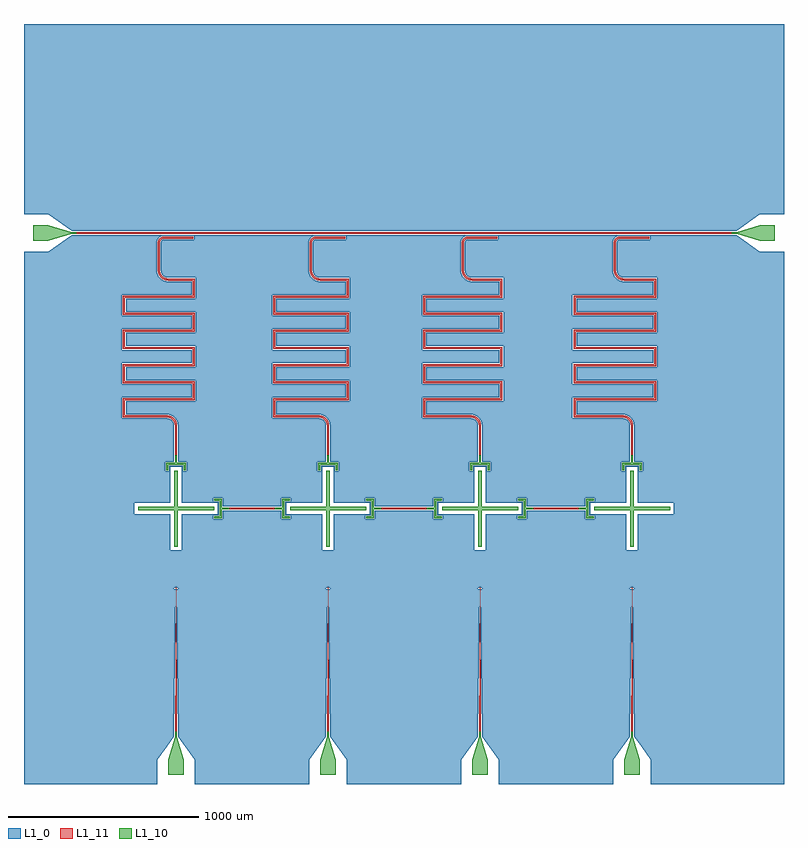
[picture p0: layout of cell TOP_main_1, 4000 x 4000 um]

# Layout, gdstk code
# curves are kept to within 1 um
import gdstk
lib = gdstk.Library(unit=1e-6, precision=1e-09)
def R(c, l, rs):  # rectangles x0, y0, x1, y1
    for r in rs: c.add(gdstk.rectangle(r[:2], r[2:], *l))
def A(c, l, x, y, w, h, nx, ny, dx, dy):  # array of equal rectangles
    R(c, l, [(x+i*dx, y+j*dy, x+i*dx+w, y+j*dy+h) for i in range(nx) for j in range(ny)])
def P(c, l, *ps):  # polygons
    for p in ps: c.add(gdstk.Polygon(p, *l))
L1_0 = (1, 0)
L1_10 = (1, 10)
L1_11 = (1, 11)

ground_main_1 = lib.new_cell('ground_main_1')
A(ground_main_1, L1_0, -1463.035, -54, 213.035, 68, 1, 4, 0, 180)
A(ground_main_1, L1_0, -672.41, -54, 172.41, 68, 1, 4, 0, 180)
A(ground_main_1, L1_0, 118.215, -54, 131.785, 68, 1, 4, 0, 180)
A(ground_main_1, L1_0, 908.84, -54, 91.16, 68, 1, 4, 0, 180)
A(ground_main_1, L1_0, -1250, 36, 133.035, 68, 1, 3, 0, 180)
A(ground_main_1, L1_0, -500, 36, 192.41, 68, 1, 3, 0, 180)
A(ground_main_1, L1_0, 250, 36, 250, 68, 1, 6, 0, 90)
A(ground_main_1, L1_0, 500, 36, 1.785, 68, 1, 4, 0, 180)
A(ground_main_1, L1_0, 1000, 36, 250, 68, 1, 6, 0, 90)
A(ground_main_1, L1_0, 1250, 36, 61.16, 68, 1, 4, 0, 180)
A(ground_main_1, L1_0, -1750, 911, 250, 1089, 14, 1, 250, 0)
R(ground_main_1, L1_0, [(-1750,-2000,-1500,889), (1500,-2000,1750,889)])
P(ground_main_1, L1_0, [(-1750,2000),(-2000,2000),(-2000,998),(-1872,998),(-1750,911)],
  [(-1750,889),(-1872,802),(-2000,802),(-2000,-2000),(-1750,-2000)],
  [(-1278.959,702.245),(-1276.434,690.273),(-1270.235,679.724),(-1261.004,671.692),(-1250,667.087),(-1250,864),(-1270.115,863.032),(-1275.946,858.729),(-1278.844,852.087)],
  [(-1300.959,851.713),(-1299.542,860.142),(-1296.177,868),(-1285.882,879.325),(-1271.813,885.349),(-1250,886),(-1250,889),(-1500,889),(-1500,-2000),(-1298,-2000),(-1298,-1872),(-1250,-1804.69),(-1250,-580),(-1420,-580),(-1420,-520),(-1250,-520),(-1250,-355),(-1257,-355),(-1257,-303),(-1250,-303),(-1250,-76),(-1485.035,-76),(-1485.035,36),(-1250,36),(-1250,104),(-1485.035,104),(-1485.035,216),(-1250,216),(-1250,284),(-1485.035,284),(-1485.035,396),(-1250,396),(-1250,464),(-1485.035,464),(-1485.035,576),(-1250,576),(-1250,644.683),(-1268.435,650.639),(-1282.644,660.806),(-1294.361,676.565),(-1300.002,693.102)],
  [(-1143,-303),(-1143,-355),(-1165,-355),(-1165,-325),(-1235,-325),(-1235,-355),(-1250,-355),(-1250,-520),(-1230,-520),(-1230,-330),(-1170,-330),(-1170,-520),(-1000,-520),(-1000,-515),(-1005,-515),(-1005,-493),(-1000,-493),(-1000,889),(-1250,889),(-1250,886),(-1104,886),(-1104,864),(-1250,864),(-1250,667.087),(-1241,666),(-1094.965,666),(-1094.965,554),(-1250,554),(-1250,486),(-1094.965,486),(-1094.965,374),(-1250,374),(-1250,306),(-1094.965,306),(-1094.965,194),(-1250,194),(-1250,126),(-1094.965,126),(-1094.965,14),(-1250,14),(-1250,-54),(-1229.627,-57.214),(-1210.62,-67.881),(-1197.784,-82.744),(-1189.998,-103.102),(-1189,-303)],
  [(-1211.041,-112.245),(-1214.238,-98.651),(-1223.4,-85.918),(-1235.273,-78.566),(-1250,-76),(-1250,-303),(-1211,-303)],
  [(-1102,-1872),(-1102,-2000),(-1000,-2000),(-1000,-607),(-1005,-607),(-1005,-585),(-1000,-585),(-1000,-580),(-1170,-580),(-1170,-770),(-1230,-770),(-1230,-580),(-1250,-580),(-1250,-1804.69),(-1211,-1750),(-1200.159,-976),(-1211,-976),(-1211,-970),(-1200,-965),(-1189,-970),(-1189,-976),(-1199.841,-976),(-1189,-1750)],
  [(-1116.965,644),(-1241,644),(-1243.191,644.04),(-1245.38,644.16),(-1247.562,644.36),(-1249.736,644.639),(-1250,644.683),(-1250,576),(-1116.965,576)],
  [(-750,889),(-1000,889),(-1000,-493),(-953,-493),(-953,-539),(-750,-539)],
  [(-975,-585),(-975,-515),(-1000,-515),(-1000,-520),(-980,-520),(-980,-580),(-1000,-580),(-1000,-585)],
  [(-953,-607),(-1000,-607),(-1000,-2000),(-750,-2000),(-750,-561),(-953,-561)],
  [(-500.959,851.713),(-500,889),(-750,889),(-750,-539),(-647,-539),(-647,-493),(-595,-493),(-595,-515),(-625,-515),(-625,-585),(-595,-585),(-595,-607),(-647,-607),(-647,-561),(-750,-561),(-750,-2000),(-500,-2000),(-500,-580),(-620,-580),(-620,-520),(-500,-520),(-500,-76),(-694.41,-76),(-694.41,36),(-500,36),(-500,104),(-694.41,104),(-694.41,216),(-500,216),(-500,284),(-694.41,284),(-694.41,396),(-500,396),(-500,464),(-694.41,464),(-694.41,576),(-500,576)],
  [(-430,-330),(-370,-330),(-370,-520),(-250,-520),(-250,194),(-500,194),(-500,126),(-285.59,126),(-285.59,14),(-500,14),(-500,-54),(-446.809,-54.04),(-431.714,-56.544),(-421.565,-60.639),(-410.62,-67.881),(-402.881,-75.62),(-395.639,-86.565),(-390.951,-98.824),(-389.04,-111.809),(-389,-303),(-343,-303),(-343,-355),(-365,-355),(-365,-325),(-435,-325),(-435,-355),(-457,-355),(-457,-303),(-411,-303),(-411.364,-108.75),(-413.566,-100.273),(-418.675,-91.1),(-426.1,-83.675),(-435.273,-78.566),(-447.245,-76.041),(-500,-76),(-500,-520),(-430,-520)],
  [(-250,889),(-500,889),(-500,858.419),(-496.177,868),(-489.843,876.054),(-479.955,882.747),(-470.123,885.634),(-304,886),(-304,864),(-465,864),(-471.074,862.614),(-475.263,859.522),(-479,850),(-478.959,702.245),(-476.434,690.273),(-470.235,679.724),(-459.491,670.802),(-447.982,666.647),(-285.59,666),(-285.59,554),(-500,554),(-500,486),(-285.59,486),(-285.59,374),(-500,374),(-500,306),(-285.59,306),(-285.59,194),(-250,194)],
  [(-302,-1872),(-302,-2000),(-250,-2000),(-250,-580),(-370,-580),(-370,-770),(-430,-770),(-430,-580),(-500,-580),(-500,-2000),(-498,-2000),(-498,-1872),(-411,-1750),(-400.159,-976),(-411,-976),(-411,-970),(-400,-965),(-389,-970),(-389,-976),(-399.841,-976),(-389,-1750)],
  [(-307.59,644),(-441,644),(-456.176,645.951),(-472.256,652.784),(-484.194,662.356),(-494.361,676.565),(-500,693.092),(-500,576),(-307.59,576)],
  [(-153,-607),(-205,-607),(-205,-585),(-175,-585),(-175,-515),(-205,-515),(-205,-493),(-153,-493),(-153,-539),(0,-539),(0,889),(-250,889),(-250,-520),(-180,-520),(-180,-580),(-250,-580),(-250,-2000),(0,-2000),(0,-561),(-153,-561)],
  [(0,-539),(153,-539),(153,-493),(205,-493),(205,-515),(175,-515),(175,-585),(205,-585),(205,-607),(153,-607),(153,-561),(0,-561),(0,-2000),(250,-2000),(250,-580),(180,-580),(180,-520),(250,-520),(250,-76),(96.215,-76),(96.215,36),(250,36),(250,104),(96.215,104),(96.215,216),(250,216),(250,284),(96.215,284),(96.215,396),(250,396),(250,464),(96.215,464),(96.215,576),(250,576),(250,889),(0,889)],
  [(356.809,644.04),(337.566,647.959),(320.62,657.881),(307.784,672.744),(300.435,690.954),(299,704),(299,850),(300.458,860.142),(303.823,868),(308.946,874.843),(315.537,880.285),(323.226,884.02),(331.578,885.837),(496,886),(496,864),(335,864),(328.926,862.614),(324.737,859.522),(321,850),(321,704),(322.97,691.924),(328.675,681.1),(337.525,672.65),(350.3,667.009),(500,666),(500,889),(250,889),(250,576),(500,576),(500,644)],
  [(388.959,-112.245),(386.434,-100.273),(381.325,-91.1),(372.475,-82.65),(361.399,-77.451),(351,-76),(250,-76),(250,-520),(370,-520),(370,-330),(430,-330),(430,-520),(500,-520),(500,14),(250,14),(250,-54),(361.898,-54.998),(374.466,-58.779),(385.912,-65.203),(395.686,-73.961),(403.323,-84.635),(409.049,-98.824),(410.96,-111.809),(411,-303),(457,-303),(457,-355),(435,-355),(435,-325),(365,-325),(365,-355),(343,-355),(343,-303),(389,-303)],
  [(498,-1872),(498,-2000),(500,-2000),(500,-580),(430,-580),(430,-770),(370,-770),(370,-580),(250,-580),(250,-2000),(302,-2000),(302,-1872),(389,-1750),(399.841,-976),(389,-976),(389,-970),(400,-965),(411,-970),(411,-976),(400.159,-976),(411,-1750)],
  [(647,-607),(595,-607),(595,-585),(625,-585),(625,-515),(595,-515),(595,-493),(647,-493),(647,-539),(750,-539),(750,889),(500,889),(500,666),(523.785,666),(523.785,554),(500,554),(500,486),(523.785,486),(523.785,374),(500,374),(500,306),(523.785,306),(523.785,194),(500,194),(500,126),(523.785,126),(523.785,14),(500,14),(500,-520),(620,-520),(620,-580),(500,-580),(500,-2000),(750,-2000),(750,-561),(647,-561)],
  [(953,-493),(1000,-493),(1000,-76),(886.84,-76),(886.84,36),(1000,36),(1000,104),(886.84,104),(886.84,216),(1000,216),(1000,284),(886.84,284),(886.84,396),(1000,396),(1000,464),(886.84,464),(886.84,576),(1000,576),(1000,889),(750,889),(750,-539),(953,-539)],
  [(980,-580),(980,-520),(1000,-520),(1000,-515),(975,-515),(975,-585),(1000,-585),(1000,-580)],
  [(750,-2000),(1000,-2000),(1000,-607),(953,-607),(953,-561),(750,-561)],
  [(1121.041,702.245),(1123.566,690.273),(1128.675,681.1),(1137.525,672.65),(1148.601,667.451),(1159,666),(1250,666),(1250,864),(1133.954,863.961),(1128.926,862.614),(1124.054,858.729),(1121,850)],
  [(1250,-303),(1250,14),(1000,14),(1000,-54),(1157.562,-54.36),(1168.286,-56.544),(1180.365,-61.677),(1189.38,-67.881),(1198.49,-77.33),(1207.041,-92.566),(1210.84,-109.62),(1211,-303)],
  [(1250,-1804.69),(1250,-580),(1230,-580),(1230,-770),(1170,-770),(1170,-580),(1000,-580),(1000,-585),(1005,-585),(1005,-607),(1000,-607),(1000,-2000),(1102,-2000),(1102,-1872),(1189,-1750),(1199.841,-976),(1189,-976),(1189,-970),(1200,-965),(1211,-970),(1211,-976),(1200.159,-976),(1211,-1750)],
  [(1099.041,851.713),(1100.98,861.774),(1106.702,872.254),(1115.537,880.285),(1126.513,884.985),(1250,886),(1250,889),(1000,889),(1000,576),(1250,576),(1250,644),(1159,644),(1145.954,645.435),(1135.534,648.779),(1124.088,655.203),(1114.314,663.961),(1106.677,674.635),(1100.951,688.824),(1099.04,701.809)],
  [(1170,-330),(1230,-330),(1230,-520),(1250,-520),(1250,-355),(1235,-355),(1235,-325),(1165,-325),(1165,-355),(1143,-355),(1143,-303),(1189,-303),(1188.959,-112.245),(1187.03,-101.924),(1182.35,-92.525),(1176.6,-85.918),(1169.491,-80.802),(1154.506,-76.162),(1000,-76),(1000,-493),(1005,-493),(1005,-515),(1000,-515),(1000,-520),(1170,-520)],
  [(1250,886),(1296,886),(1296,864),(1250,864),(1250,666),(1333.16,666),(1333.16,554),(1250,554),(1250,486),(1333.16,486),(1333.16,374),(1250,374),(1250,306),(1333.16,306),(1333.16,194),(1250,194),(1250,126),(1333.16,126),(1333.16,14),(1250,14),(1250,-303),(1257,-303),(1257,-355),(1250,-355),(1250,-520),(1420,-520),(1420,-580),(1250,-580),(1250,-1804.69),(1298,-1872),(1298,-2000),(1500,-2000),(1500,889),(1250,889)],
  [(1872,998),(2000,998),(2000,2000),(1750,2000),(1750,911)],
  [(2000,802),(1872,802),(1750,889),(1750,-2000),(2000,-2000)])

top_main_1 = lib.new_cell('TOP_main_1')
P(top_main_1, L1_10, [(-1400,-560),(-1400,-540),(-1210,-540),(-1210,-350),(-1190,-350),(-1190,-540),(-1000,-540),(-1000,-560),(-1190,-560),(-1190,-750),(-1210,-750),(-1210,-560),(-1400,-560)],
  [(-1195,-269),(-1195,-309),(-1149,-309),(-1149,-349),(-1159,-349),(-1159,-319),(-1241,-319),(-1241,-349),(-1251,-349),(-1251,-309),(-1205,-309),(-1205,-269),(-1195,-269)],
  [(-919,-555),(-959,-555),(-959,-601),(-999,-601),(-999,-591),(-969,-591),(-969,-509),(-999,-509),(-999,-499),(-959,-499),(-959,-545),(-919,-545),(-919,-555)],
  [(-600,-560),(-600,-540),(-410,-540),(-410,-350),(-390,-350),(-390,-540),(-200,-540),(-200,-560),(-390,-560),(-390,-750),(-410,-750),(-410,-560),(-600,-560)],
  [(-395,-269),(-395,-309),(-349,-309),(-349,-349),(-359,-349),(-359,-319),(-441,-319),(-441,-349),(-451,-349),(-451,-309),(-405,-309),(-405,-269),(-395,-269)],
  [(-681,-545),(-641,-545),(-641,-499),(-601,-499),(-601,-509),(-631,-509),(-631,-591),(-601,-591),(-601,-601),(-641,-601),(-641,-555),(-681,-555),(-681,-545)],
  [(-119,-555),(-159,-555),(-159,-601),(-199,-601),(-199,-591),(-169,-591),(-169,-509),(-199,-509),(-199,-499),(-159,-499),(-159,-545),(-119,-545),(-119,-555)],
  [(200,-560),(200,-540),(390,-540),(390,-350),(410,-350),(410,-540),(600,-540),(600,-560),(410,-560),(410,-750),(390,-750),(390,-560),(200,-560)],
  [(405,-269),(405,-309),(451,-309),(451,-349),(441,-349),(441,-319),(359,-319),(359,-349),(349,-349),(349,-309),(395,-309),(395,-269),(405,-269)],
  [(119,-545),(159,-545),(159,-499),(199,-499),(199,-509),(169,-509),(169,-591),(199,-591),(199,-601),(159,-601),(159,-555),(119,-555),(119,-545)],
  [(681,-555),(641,-555),(641,-601),(601,-601),(601,-591),(631,-591),(631,-509),(601,-509),(601,-499),(641,-499),(641,-545),(681,-545),(681,-555)],
  [(1000,-560),(1000,-540),(1190,-540),(1190,-350),(1210,-350),(1210,-540),(1400,-540),(1400,-560),(1210,-560),(1210,-750),(1190,-750),(1190,-560),(1000,-560)],
  [(1205,-269),(1205,-309),(1251,-309),(1251,-349),(1241,-349),(1241,-319),(1159,-319),(1159,-349),(1149,-349),(1149,-309),(1195,-309),(1195,-269),(1205,-269)],
  [(919,-545),(959,-545),(959,-499),(999,-499),(999,-509),(969,-509),(969,-591),(999,-591),(999,-601),(959,-601),(959,-555),(919,-555),(919,-545)],
  [(-1750,905),(-1872,940),(-1952,940),(-1952,860),(-1872,860),(-1750,895),(-1725,895),(-1725,905),(-1750,905)],
  [(1750,895),(1872,860),(1952,860),(1952,940),(1872,940),(1750,905),(1725,905),(1725,895),(1750,895)],
  [(-1205,-1750),(-1240,-1872),(-1240,-1952),(-1160,-1952),(-1160,-1872),(-1195,-1750),(-1195,-1725),(-1205,-1725),(-1205,-1750)],
  [(-405,-1750),(-440,-1872),(-440,-1952),(-360,-1952),(-360,-1872),(-395,-1750),(-395,-1725),(-405,-1725),(-405,-1750)],
  [(395,-1750),(360,-1872),(360,-1952),(440,-1952),(440,-1872),(405,-1750),(405,-1725),(395,-1725),(395,-1750)],
  [(1195,-1750),(1160,-1872),(1160,-1952),(1240,-1952),(1240,-1872),(1205,-1750),(1205,-1725),(1195,-1725),(1195,-1750)])
A(top_main_1, L1_11, -919, -555, 238, 10, 3, 1, 800, 0)
A(top_main_1, L1_11, -1380, 895, 360, 10, 4, 1, 800, 0)
A(top_main_1, L1_11, -1020, 895, 440, 10, 3, 1, 800, 0)
R(top_main_1, L1_11, [(-1725,895,-1380,905), (1380,895,1725,905)])
P(top_main_1, L1_11, [(-1110,870),(-1110,880),(-1265,880),(-1278.62,876.73),(-1289.271,867.634),(-1294.631,854.693),(-1295,775),(-1285,775),(-1284.842,852.507),(-1281.887,860.717),(-1274.635,867.526),(-1265,870)],
  [(-310,870),(-310,880),(-465,880),(-478.62,876.73),(-489.271,867.634),(-494.631,854.693),(-495,775),(-485,775),(-484.842,852.507),(-481.887,860.717),(-474.635,867.526),(-465,870)],
  [(490,870),(490,880),(335,880),(321.38,876.73),(310.729,867.634),(305.369,854.693),(305,775),(315,775),(315.158,852.507),(318.113,860.717),(325.365,867.526),(335,870)],
  [(1290,870),(1290,880),(1135,880),(1121.38,876.73),(1110.729,867.634),(1105.369,854.693),(1105,775),(1115,775),(1115.158,852.507),(1118.113,860.717),(1125.365,867.526),(1135,870)],
  [(-1205,-1725),(-1195,-1725),(-1200,-965),(-1205,-970),(-1195,-970),(-1200,-965)],
  [(-405,-1725),(-395,-1725),(-400,-965),(-405,-970),(-395,-970),(-400,-965)],
  [(395,-1725),(405,-1725),(400,-965),(395,-970),(405,-970),(400,-965)],
  [(1195,-1725),(1205,-1725),(1200,-965),(1195,-970),(1205,-970),(1200,-965)],
  [(-1197.983,660),(-1197.983,650),(-1110.965,650),(-1110.965,570),(-1479.035,570),(-1479.035,570),(-1479.035,470),(-1479.035,470),(-1110.965,470),(-1110.965,390),(-1479.035,390),(-1479.035,390),(-1479.035,290),(-1479.035,290),(-1110.965,290),(-1110.965,210),(-1479.035,210),(-1479.035,210),(-1479.035,110),(-1479.035,110),(-1110.965,110),(-1110.965,30),(-1479.035,30),(-1479.035,30),(-1479.035,-70),(-1479.035,-70),(-1337.017,-70),(-1337.017,-60),(-1469.035,-60),(-1469.035,20),(-1100.965,20),(-1100.965,20),(-1100.965,120),(-1100.965,120),(-1469.035,120),(-1469.035,200),(-1100.965,200),(-1100.965,200),(-1100.965,300),(-1100.965,300),(-1469.035,300),(-1469.035,380),(-1100.965,380),(-1100.965,380),(-1100.965,480),(-1100.965,480),(-1469.035,480),(-1469.035,560),(-1100.965,560),(-1100.965,560),(-1100.965,660),(-1100.965,660)],
  [(-1285,775),(-1295,775),(-1294.644,697.807),(-1291.822,685.747),(-1285.168,672.933),(-1272.067,659.832),(-1255.309,651.93),(-1243.068,650.04),(-1197.983,650),(-1197.983,660),(-1242.867,660.04),(-1252.087,661.42),(-1267.164,668.624),(-1277.454,679.361),(-1282.487,689.342),(-1284.841,700.269)],
  [(-1337.017,-60),(-1337.017,-70),(-1239.73,-70.988),(-1224.361,-77.546),(-1212.546,-89.361),(-1207.513,-99.342),(-1205.04,-112.133),(-1205,-269),(-1195,-269),(-1195.04,-111.932),(-1198.178,-95.747),(-1204.832,-82.933),(-1211.555,-75.092),(-1219.647,-68.674),(-1230.747,-63.178),(-1240.757,-60.633)],
  [(-393.295,660),(-393.295,650),(-301.59,650),(-301.59,570),(-688.41,570),(-688.41,570),(-688.41,470),(-688.41,470),(-301.59,470),(-301.59,390),(-688.41,390),(-688.41,390),(-688.41,290),(-688.41,290),(-301.59,290),(-301.59,210),(-688.41,210),(-688.41,210),(-688.41,110),(-688.41,110),(-301.59,110),(-301.59,30),(-688.41,30),(-688.41,30),(-688.41,-70),(-688.41,-70),(-541.705,-70),(-541.705,-60),(-678.41,-60),(-678.41,20),(-291.59,20),(-291.59,20),(-291.59,120),(-291.59,120),(-678.41,120),(-678.41,200),(-291.59,200),(-291.59,200),(-291.59,300),(-291.59,300),(-678.41,300),(-678.41,380),(-291.59,380),(-291.59,380),(-291.59,480),(-291.59,480),(-678.41,480),(-678.41,560),(-291.59,560),(-291.59,560),(-291.59,660),(-291.59,660)],
  [(-485,775),(-495,775),(-495,704),(-491.822,685.747),(-483.946,671.264),(-470.353,658.674),(-453.304,651.42),(-443.068,650.04),(-393.295,650),(-393.295,660),(-450.27,660.988),(-464.07,666.533),(-476.376,677.836),(-482.487,689.342),(-484.841,700.269)],
  [(-541.705,-60),(-541.705,-70),(-439.73,-70.988),(-424.361,-77.546),(-412.546,-89.361),(-407.513,-99.342),(-405.04,-112.133),(-405,-269),(-395,-269),(-395.04,-111.932),(-398.178,-95.747),(-404.832,-82.933),(-411.555,-75.092),(-419.647,-68.674),(-430.747,-63.178),(-440.757,-60.633)],
  [(411.392,660),(411.392,650),(507.785,650),(507.785,570),(102.215,570),(102.215,570),(102.215,470),(102.215,470),(507.785,470),(507.785,390),(102.215,390),(102.215,390),(102.215,290),(102.215,290),(507.785,290),(507.785,210),(102.215,210),(102.215,210),(102.215,110),(102.215,110),(507.785,110),(507.785,30),(102.215,30),(102.215,30),(102.215,-70),(102.215,-70),(253.608,-70),(253.608,-60),(112.215,-60),(112.215,20),(517.785,20),(517.785,20),(517.785,120),(517.785,120),(112.215,120),(112.215,200),(517.785,200),(517.785,200),(517.785,300),(517.785,300),(112.215,300),(112.215,380),(517.785,380),(517.785,380),(517.785,480),(517.785,480),(112.215,480),(112.215,560),(517.785,560),(517.785,560),(517.785,660),(517.785,660)],
  [(315,775),(305,775),(305,704),(308.178,685.747),(316.054,671.264),(329.647,658.674),(346.696,651.42),(356.932,650.04),(411.392,650),(411.392,660),(349.73,660.988),(335.93,666.533),(323.624,677.836),(317.513,689.342),(315.159,700.269)],
  [(253.608,-60),(253.608,-70),(360.27,-70.988),(374.07,-76.533),(386.376,-87.836),(392.487,-99.342),(394.96,-112.133),(395,-269),(405,-269),(404.96,-111.932),(401.822,-95.747),(395.168,-82.933),(388.445,-75.092),(380.353,-68.674),(369.253,-63.178),(359.243,-60.633)],
  [(1216.08,660),(1216.08,650),(1317.16,650),(1317.16,570),(892.84,570),(892.84,570),(892.84,470),(892.84,470),(1317.16,470),(1317.16,390),(892.84,390),(892.84,390),(892.84,290),(892.84,290),(1317.16,290),(1317.16,210),(892.84,210),(892.84,210),(892.84,110),(892.84,110),(1317.16,110),(1317.16,30),(892.84,30),(892.84,30),(892.84,-70),(892.84,-70),(1048.92,-70),(1048.92,-60),(902.84,-60),(902.84,20),(1327.16,20),(1327.16,20),(1327.16,120),(1327.16,120),(902.84,120),(902.84,200),(1327.16,200),(1327.16,200),(1327.16,300),(1327.16,300),(902.84,300),(902.84,380),(1327.16,380),(1327.16,380),(1327.16,480),(1327.16,480),(902.84,480),(902.84,560),(1327.16,560),(1327.16,560),(1327.16,660),(1327.16,660)],
  [(1115,775),(1105,775),(1105.04,701.932),(1108.178,685.747),(1117.34,669.643),(1131.405,657.583),(1148.719,650.988),(1216.08,650),(1216.08,660),(1151.564,660.633),(1137.541,665.587),(1124.766,676.358),(1118.173,687.594),(1115.159,700.269)],
  [(1048.92,-60),(1048.92,-70),(1160.27,-70.988),(1174.07,-76.533),(1186.376,-87.836),(1192.487,-99.342),(1194.96,-112.133),(1195,-269),(1205,-269),(1204.842,-109.866),(1201.822,-95.747),(1193.946,-81.264),(1186.928,-73.686),(1178.595,-67.583),(1169.253,-63.178),(1159.243,-60.633)])
top_main_1.add(gdstk.Reference(ground_main_1, (0,0)))

lib.write_gds('TOP_main_1.gds')
